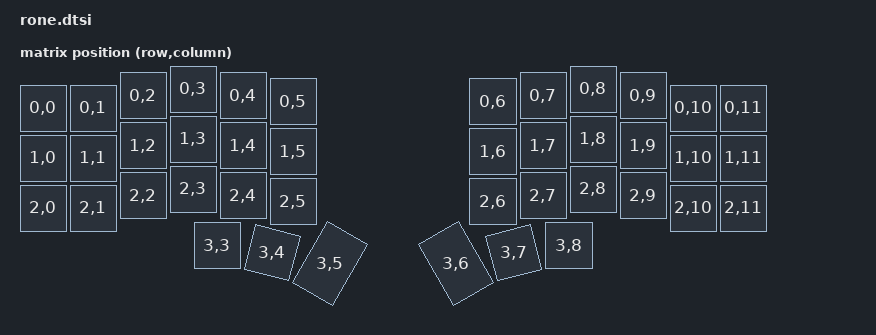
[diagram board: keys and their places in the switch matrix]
/*
 * Rone 42-key split — shared definitions
 *
 * Matrix transform + ZMK Studio physical layout.
 * NOTE: for Studio we select a zmk,physical-layout (which references the
 * transform) instead of choosing zmk,matrix-transform directly.
 */

#include <dt-bindings/zmk/matrix_transform.h>
#include <physical_layouts.dtsi>

/ {
    chosen {
        zmk,physical-layout = &rone_physical_layout;
    };

    default_transform: keymap_transform_0 {
        compatible = "zmk,matrix-transform";
        columns = <12>;
        rows = <4>;
// |  0 |  1 |  2 |  3 |  4 |  5 |   |  6 |  7 |  8 |  9 | 10 | 11 |
// | 12 | 13 | 14 | 15 | 16 | 17 |   | 18 | 19 | 20 | 21 | 22 | 23 |
// | 24 | 25 | 26 | 27 | 28 | 29 |   | 30 | 31 | 32 | 33 | 34 | 35 |
//                | 36 | 37 | 38 |   | 39 | 40 | 41 |
        map = <
RC(0,0) RC(0,1) RC(0,2) RC(0,3) RC(0,4) RC(0,5)   RC(0,6) RC(0,7) RC(0,8) RC(0,9) RC(0,10) RC(0,11)
RC(1,0) RC(1,1) RC(1,2) RC(1,3) RC(1,4) RC(1,5)   RC(1,6) RC(1,7) RC(1,8) RC(1,9) RC(1,10) RC(1,11)
RC(2,0) RC(2,1) RC(2,2) RC(2,3) RC(2,4) RC(2,5)   RC(2,6) RC(2,7) RC(2,8) RC(2,9) RC(2,10) RC(2,11)
                        RC(3,3) RC(3,4) RC(3,5)   RC(3,6) RC(3,7) RC(3,8)
        >;
    };

    rone_physical_layout: rone_physical_layout {
        compatible = "zmk,physical-layout";
        display-name = "Rone";
        transform = <&default_transform>;

        // 1u = 100. Positions/rotations taken from your info.json.
        keys = <
&key_physical_attrs 100 100    0  38    0    0    0
&key_physical_attrs 100 100  100  38    0    0    0
&key_physical_attrs 100 100  200  13    0    0    0
&key_physical_attrs 100 100  300   0    0    0    0
&key_physical_attrs 100 100  400  13    0    0    0
&key_physical_attrs 100 100  500  25    0    0    0
&key_physical_attrs 100 100  900  25    0    0    0
&key_physical_attrs 100 100 1000  13    0    0    0
&key_physical_attrs 100 100 1100   0    0    0    0
&key_physical_attrs 100 100 1200  13    0    0    0
&key_physical_attrs 100 100 1300  38    0    0    0
&key_physical_attrs 100 100 1400  38    0    0    0

&key_physical_attrs 100 100    0 138    0    0    0
&key_physical_attrs 100 100  100 138    0    0    0
&key_physical_attrs 100 100  200 113    0    0    0
&key_physical_attrs 100 100  300 100    0    0    0
&key_physical_attrs 100 100  400 113    0    0    0
&key_physical_attrs 100 100  500 125    0    0    0
&key_physical_attrs 100 100  900 125    0    0    0
&key_physical_attrs 100 100 1000 113    0    0    0
&key_physical_attrs 100 100 1100 100    0    0    0
&key_physical_attrs 100 100 1200 113    0    0    0
&key_physical_attrs 100 100 1300 138    0    0    0
&key_physical_attrs 100 100 1400 138    0    0    0

&key_physical_attrs 100 100    0 238    0    0    0
&key_physical_attrs 100 100  100 238    0    0    0
&key_physical_attrs 100 100  200 213    0    0    0
&key_physical_attrs 100 100  300 200    0    0    0
&key_physical_attrs 100 100  400 213    0    0    0
&key_physical_attrs 100 100  500 225    0    0    0
&key_physical_attrs 100 100  900 225    0    0    0
&key_physical_attrs 100 100 1000 213    0    0    0
&key_physical_attrs 100 100 1100 200    0    0    0
&key_physical_attrs 100 100 1200 213    0    0    0
&key_physical_attrs 100 100 1300 238    0    0    0
&key_physical_attrs 100 100 1400 238    0    0    0

&key_physical_attrs 100 100  348 313       0    0    0
&key_physical_attrs 100 100  348 313    1500  398  790
&key_physical_attrs 100 150  348 263    3000  398  790
&key_physical_attrs 100 150 1052 263 (-3000) 1102  790
&key_physical_attrs 100 100 1052 313 (-1500) 1102  790
&key_physical_attrs 100 100 1052 313       0    0    0
        >;
    };
};
